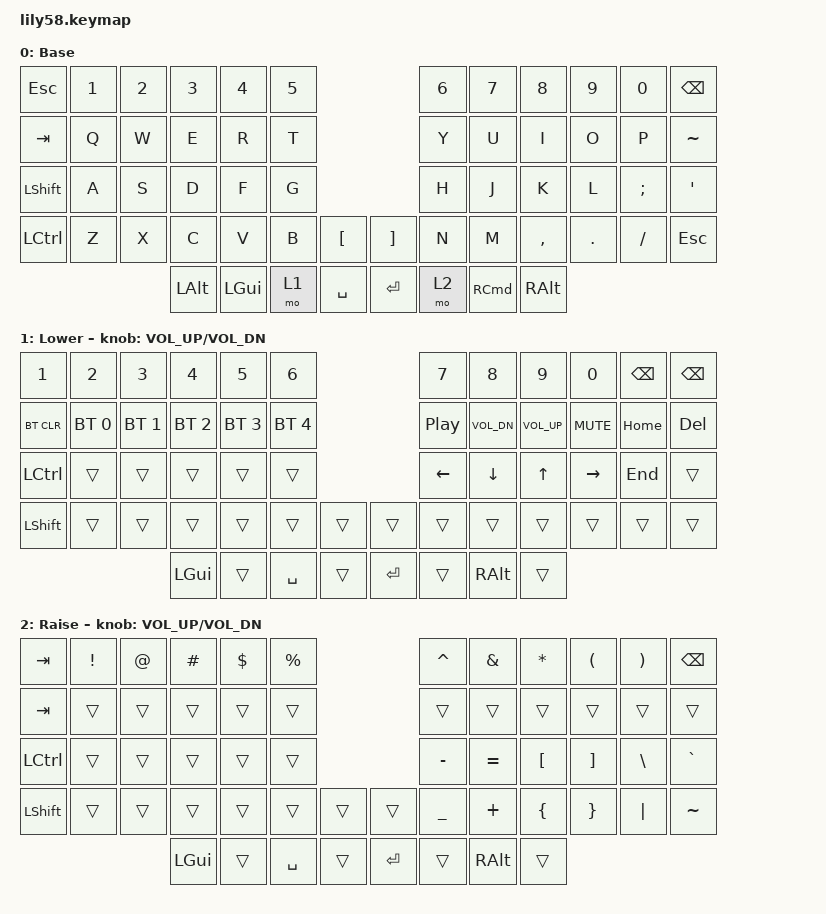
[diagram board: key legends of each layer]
/*
 * Copyright (c) 2020 The ZMK Contributors
 *
 * SPDX-License-Identifier: MIT
 */

#include <behaviors.dtsi>
#include <dt-bindings/zmk/bt.h>
#include <dt-bindings/zmk/keys.h>

/ {
    combos {
        compatible = "zmk,combos";

        backslash {
            bindings = <&kp BACKSLASH>;
            key-positions = <46 17>;
        };
    };

    keymap {
        compatible = "zmk,keymap";

        default_layer {
            // -----------------------------------------------------------------------------------------
            // |  1  |  2  |  3  |  4  |  5  |  6  |   |  7  |  8  |  9  |  0  | BKSP| BKSP |
            // | TAB |  Q  |  W  |  E  |  R  |  T  |   |  Y  |  U  |  I  |  O  |  P  | BKSP |
            // |CTRL |  A  |  S  |  D  |  F  |  G  |   |  H  |  J  |  K  |  L  |  ;  |  '   |
            // |SHFT |  Z  |  X  |  C  |  V  |  B  |"["|  |"]" |  N  |  M  |  ,  |  .  |  /  | ESC  |
            //                   |ALT | GUI |LWR |SPC |  |ENT |RSE |BSPC| GUI |

            display-name = "Base";
            bindings = <
&kp ESCAPE      &kp N1  &kp N2  &kp N3    &kp N4    &kp N5                         &kp N6  &kp NUMBER_7       &kp N8     &kp N9   &kp N0    &kp BSPC
&kp TAB         &kp Q   &kp W   &kp E     &kp R     &kp T                          &kp Y   &kp U              &kp I      &kp O    &kp P     &kp TILDE
&kp LEFT_SHIFT  &kp A   &kp S   &kp D     &kp F     &kp G                          &kp H   &kp J              &kp K      &kp L    &kp SEMI  &kp SQT
&kp LCTRL       &kp Z   &kp X   &kp C     &kp V     &kp B   &kp LBKT     &kp RBKT  &kp N   &kp M              &kp COMMA  &kp DOT  &kp FSLH  &kp ESC
                                &kp LALT  &kp LGUI  &mo 1   &kp SPACE    &kp RET   &mo 2   &kp RIGHT_COMMAND  &kp RALT
            >;
        };

        lower_layer {
            // -----------------------------------------------------------------------------------------
            // | 1  | 2   | 3   | 4   | 5   | 6   |   |  7  |  8  |  9  |  0  | BKSP| BKSP |
            // |BTCLR| BT1 | BT2 | BT3 | BT4 | BT5 |   | LFT| DWN| UP | RGT| HOM| DEL  |
            // |CTRL |     |     |     |     |     |   | PLAY| VOL-| VOL+| MUTE| END|      |
            // |SHFT |     |     |     |     |     |"["|  |"]" |     |     |     |     |     |      |
            //                   | GUI |     | SPC |   | ENT |     | ALT |

            display-name = "Lower";
            bindings = <
&kp N1      &kp N2        &kp N3        &kp N4        &kp N5        &kp N6                           &kp N7            &kp N8        &kp N9           &kp N0      &kp BSPC  &kp BSPC
&bt BT_CLR  &bt BT_SEL 0  &bt BT_SEL 1  &bt BT_SEL 2  &bt BT_SEL 3  &bt BT_SEL 4                     &kp C_PLAY_PAUSE  &kp C_VOL_DN  &kp C_VOLUME_UP  &kp C_MUTE  &kp HOME  &kp DEL
&kp LCTRL   &trans        &trans        &trans        &trans        &trans                           &kp LEFT          &kp DOWN      &kp UP_ARROW     &kp RIGHT   &kp END   &trans
&kp LSHFT   &trans        &trans        &trans        &trans        &trans        &trans    &trans   &trans            &trans        &trans           &trans      &trans    &trans
                                        &kp LGUI      &trans        &kp SPACE     &trans    &kp RET  &trans            &kp RALT      &trans
            >;

            sensor-bindings = <&inc_dec_kp C_VOL_UP C_VOL_DN>;
        };

        raise_layer {
            // -----------------------------------------------------------------------------------------
            // | TAB |  !  |  @  |  #  |  $  |  %  |   |  ^  |  &  |  *  |  (  |  )  | BKSP |
            // | TAB |  !  |  @  |  #  |  $  |  %  |   |  ^  |  &  |  *  |  (  |  )  | BKSP |
            // |CTRL |     |     |     |     |     |   |  -  |  =  |  [  |  ]  |  \  |  `   |
            // |SHFT |     |     |     |     |     |"["|  |"]" |  _  |  +  |  {  |  }  | "|" |  ~   |
            //                   | GUI |     | SPC |   | ENT |     | ALT |

            display-name = "Raise";
            bindings = <
&kp TAB    &kp EXCL  &kp AT  &kp HASH  &kp DLLR  &kp PRCNT                     &kp CARET  &kp AMPS   &kp ASTRK  &kp LPAR  &kp RPAR  &kp BSPC
&kp TAB    &trans    &trans  &trans    &trans    &trans                        &trans     &trans     &trans     &trans    &trans    &trans
&kp LCTRL  &trans    &trans  &trans    &trans    &trans                        &kp MINUS  &kp EQUAL  &kp LBKT   &kp RBKT  &kp BSLH  &kp GRAVE
&kp LSHFT  &trans    &trans  &trans    &trans    &trans     &trans    &trans   &kp UNDER  &kp PLUS   &kp LBRC   &kp RBRC  &kp PIPE  &kp TILDE
                             &kp LGUI  &trans    &kp SPACE  &trans    &kp RET  &trans     &kp RALT   &trans
            >;

            sensor-bindings = <&inc_dec_kp C_VOL_UP C_VOL_DN>;
        };
    };
};
